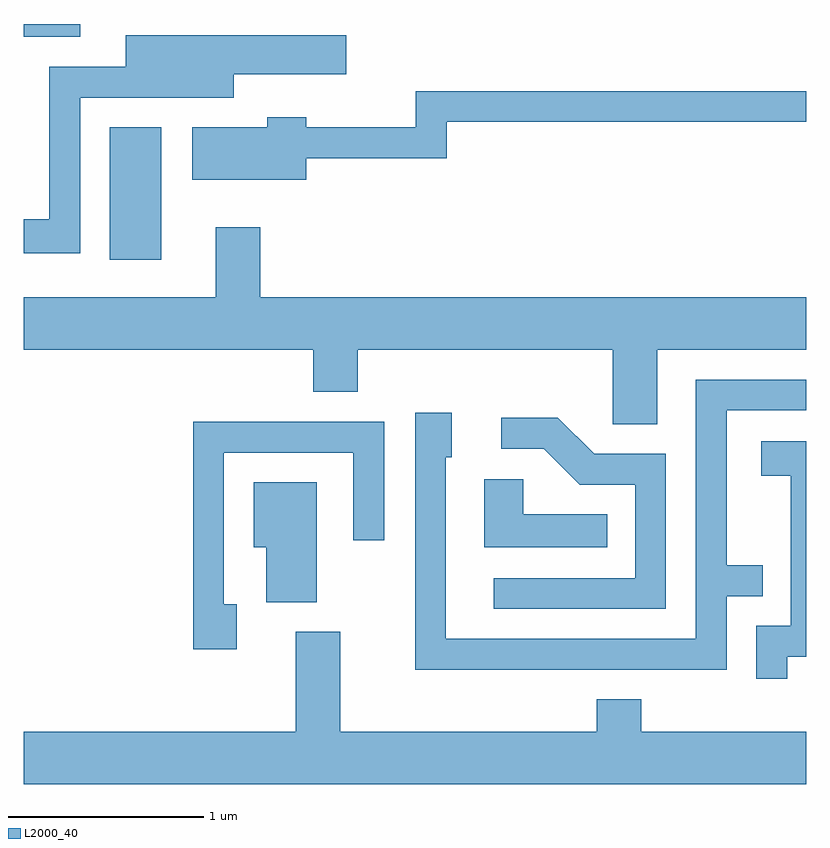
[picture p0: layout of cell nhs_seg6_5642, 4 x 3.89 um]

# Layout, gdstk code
import gdstk
lib = gdstk.Library(unit=1e-6, precision=1e-09)
def R(c, l, rs):  # rectangles x0, y0, x1, y1
    for r in rs: c.add(gdstk.rectangle(r[:2], r[2:], *l))
def P(c, l, *ps):  # polygons
    for p in ps: c.add(gdstk.Polygon(p, *l))
L2000_40 = (2000, 40)

nhs_seg6_5642 = lib.new_cell('nhs_seg6_5642')
R(nhs_seg6_5642, L2000_40, [(358.051,1534.956,358.314,1535.634), (357.611,1536.096,357.899,1536.162)])
P(nhs_seg6_5642, L2000_40, [(357.899,1535.786),(358.684,1535.786),(358.684,1535.906),(359.259,1535.906),(359.259,1536.104),(358.131,1536.104),(358.131,1535.944),(357.741,1535.944),(357.741,1535.164),(357.611,1535.164),(357.611,1534.991),(357.899,1534.991)],
  [(359.054,1535.476),(359.774,1535.476),(359.774,1535.661),(361.611,1535.661),(361.611,1535.819),(359.616,1535.819),(359.616,1535.634),(359.054,1535.634),(359.054,1535.684),(358.856,1535.684),(358.856,1535.634),(358.471,1535.634),(358.471,1535.366),(359.054,1535.366)],
  [(358.819,1535.124),(358.591,1535.124),(358.591,1534.764),(357.611,1534.764),(357.611,1534.496),(359.091,1534.496),(359.091,1534.281),(359.319,1534.281),(359.319,1534.496),(360.621,1534.496),(360.621,1534.116),(360.849,1534.116),(360.849,1534.496),(361.611,1534.496),(361.611,1534.764),(358.819,1534.764)],
  [(361.204,1533.236),(361.388,1533.236),(361.388,1533.394),(361.204,1533.394),(361.204,1534.186),(361.611,1534.186),(361.611,1534.344),(361.046,1534.344),(361.046,1533.019),(359.769,1533.019),(359.769,1533.946),(359.799,1533.946),(359.799,1534.174),(359.611,1534.174),(359.611,1532.861),(361.204,1532.861)],
  [(360.894,1533.964),(360.527,1533.964),(360.342,1534.149),(360.053,1534.149),(360.053,1533.991),(360.269,1533.991),(360.454,1533.806),(360.736,1533.806),(360.736,1533.329),(360.013,1533.329),(360.013,1533.171),(360.894,1533.171)],
  [(358.699,1533.194),(358.634,1533.194),(358.634,1533.971),(359.296,1533.971),(359.296,1533.523),(359.454,1533.523),(359.454,1534.129),(358.476,1534.129),(358.476,1532.966),(358.699,1532.966)],
  [(361.514,1532.926),(361.611,1532.926),(361.611,1534.029),(361.381,1534.029),(361.381,1533.851),(361.531,1533.851),(361.531,1533.084),(361.356,1533.084),(361.356,1532.813),(361.514,1532.813)],
  [(360.593,1533.654),(360.164,1533.654),(360.164,1533.834),(359.966,1533.834),(359.966,1533.486),(360.593,1533.486)],
  [(359.109,1533.819),(358.786,1533.819),(358.786,1533.486),(358.851,1533.486),(358.851,1533.206),(359.109,1533.206)],
  [(361.611,1532.544),(360.769,1532.544),(360.769,1532.709),(360.541,1532.709),(360.541,1532.544),(359.229,1532.544),(359.229,1533.054),(359.001,1533.054),(359.001,1532.544),(357.611,1532.544),(357.611,1532.276),(361.611,1532.276)])

lib.write_gds('nhs_seg6_5642.gds')
